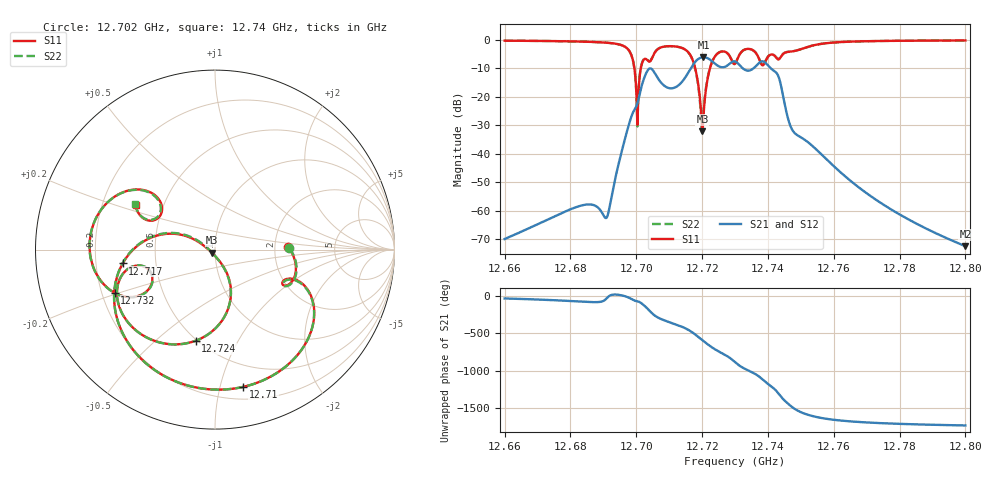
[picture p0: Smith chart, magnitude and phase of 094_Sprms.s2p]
! TOUCHSTONE file generated by CST MICROWAVE STUDIO
! Date and time: Wed Jul 31 15:29:00 2024
! Project name: WaveGuide_BPF-Ver4.1_U-shape_Ku_T3_C4_CWA_2.cst
! Parameters = {cavity_h=16; cavity_l0=10; cavity_l1=15.2314; cavity_l2=16.8386; cavity_l3=17.1439; cavity_l4=17.2986; cavity_l5=17.1321; cavity_l6=17.6269; cavity_r=2.5; cavity_screw_l=0.5; cavity_screw_r=1.5; cavity_w=8; iris_h00=0; iris_h01=8.8256; iris_h112=0; iris_h12=5.5958; iris_h211=3.6655; 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
! Header version: 2018
! Port assignment regex: !\s*Touchstone port\s*([0-9]+)\s*=\s*(CST MWS port|CST DS port)\s*([0-9]+|Zmin|Zmax)\s*\(\"(.*)\"\)(\s*mode\s*([0-9]+))?.*
! Touchstone port assignment:
! Touchstone port 1 = CST MWS port 1 ("")
! Touchstone port 2 = CST MWS port 2 ("")
# GHz S RI R 50
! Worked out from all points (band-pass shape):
!   5001 points, 12.66 GHz to 12.8 GHz, reference 50 ohm
!   highest |S21| = -6.06 dB at 12.72 GHz (marker M1); lowest = -72.5 dB at 12.8 GHz (marker M2)
!   |S21| within 3 dB of the highest: 12.71705 GHz to 12.72481 GHz (7.759 MHz wide, 0.061 % of centre); 12.72753 GHz to 12.73158 GHz (4.057 MHz wide, 0.0319 % of centre) (the widest 2 of 3)
!   lowest |S11| = -32.1 dB at 12.72 GHz (marker M3), VSWR 1.05, Z = 48.2 - j1.65 ohm
!   |S11| at or under -10 dB: 12.69944 GHz to 12.70137 GHz (1.928 MHz wide, 0.0152 % of centre); 12.71792 GHz to 12.72238 GHz (4.458 MHz wide, 0.035 % of centre)
!   |S22| runs from -32.7 to -0.1 dB; largest |S21 - S12| = 1e-09
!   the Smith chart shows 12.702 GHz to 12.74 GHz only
!   S11 on the Smith chart (normalised r, x): 12.702 GHz: 2.38, +0.07; 12.71 GHz: 0.30, -1.18; 12.717 GHz: 0.32, -0.07; 12.724 GHz: 0.49, -0.68; 12.732 GHz: 0.25, -0.19; 12.74 GHz: 0.35, +0.23
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12.66  0.4671 0.8565  0.000267 -0.000172  0.000267 -0.000172  0.4708 0.8545
12.68335  0.8933 0.2914  0.000324 -0.00119  0.000324 -0.00119  0.8942 0.2895
12.69114  0.8752 -0.1961  0.000703 -0.000335  0.000703 -0.000335  0.8756 -0.1965
12.69741  0.2764 -0.6396  0.0267 -0.00777  0.0267 -0.00777  0.2777 -0.6392
12.70032  -0.0308 0.0148  0.0247 -0.0717  0.0247 -0.0717  -0.0249 0.0175
12.70186  0.4088 0.0123  -0.0503 -0.165  -0.0503 -0.165  0.4141 0.00876
12.70668  0.5365 -0.4521  0.0702 0.1964  0.0702 0.1964  0.5345 -0.4573
12.70984  0.1583 -0.7644  0.1393 0.0346  0.1393 0.0346  0.1545 -0.7656
12.71662  -0.5143 -0.0774  -0.1271 -0.2942  -0.1271 -0.2942  -0.5113 -0.0688
12.72009  -0.0178 -0.0171  -0.319 0.3801  -0.319 0.3801  -0.00951 -0.0239
12.72042  0.00853 -0.0446  -0.2364 0.4379  -0.2364 0.4379  0.0151 -0.0525
12.72395  -0.1081 -0.5078  0.3796 0.0474  0.3796 0.0474  -0.1116 -0.5096
12.73  -0.3489 -0.1601  -0.4032 -0.1238  -0.4032 -0.1238  -0.3469 -0.16
12.73185  -0.5588 -0.2408  -0.2427 0.2373  -0.2427 0.2373  -0.5575 -0.2431
12.73745  -0.3316 0.3005  0.4026 -0.000814  0.4026 -0.000814  -0.339 0.3006
12.74002  -0.4427 0.2495  -0.025 -0.357  -0.025 -0.357  -0.4447 0.254
12.74579  0.2325 0.5697  0.0476 0.0123  0.0476 0.0123  0.2311 0.5733
12.74904  0.6548 -0.1084  -0.000283 -0.021  -0.000283 -0.021  0.656 -0.102
12.75335  0.135 -0.7841  -0.0133 -0.00456  -0.0133 -0.00456  0.1386 -0.7826
12.76203  -0.7091 -0.5886  -0.00349 0.00322  -0.00349 0.00322  -0.7096 -0.5875
12.77668  -0.9661 -0.0504  -0.000155 0.00111  -0.000155 0.00111  -0.9663 -0.0468
12.8  -0.9138 0.3651  7.6e-05 0.000225  7.6e-05 0.000225  -0.9121 0.3694
